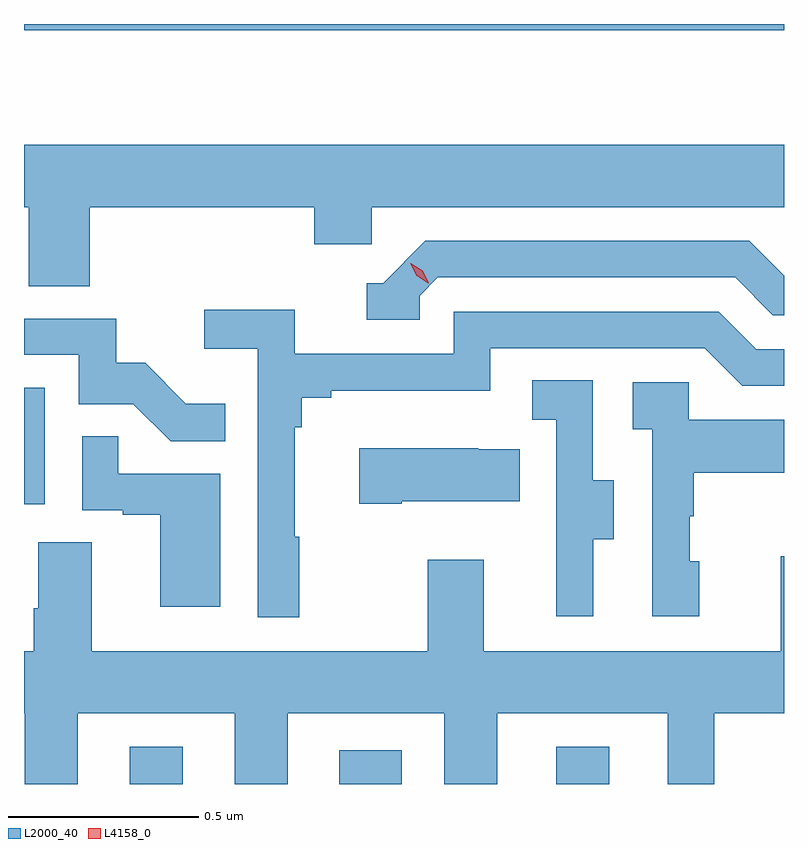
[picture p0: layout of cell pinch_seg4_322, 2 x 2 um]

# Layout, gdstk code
import gdstk
lib = gdstk.Library(unit=1e-6, precision=1e-09)
def R(c, l, rs):  # rectangles x0, y0, x1, y1
    for r in rs: c.add(gdstk.rectangle(r[:2], r[2:], *l))
def P(c, l, *ps):  # polygons
    for p in ps: c.add(gdstk.Polygon(p, *l))
L2000_40 = (2000, 40)
L4158_0 = (4158, 0)

pinch_seg4_322 = lib.new_cell('pinch_seg4_322')
R(pinch_seg4_322, L2000_40, [(897.197,795.302,897.337,795.4), (897.749,795.302,897.913,795.391), (898.319,795.302,898.459,795.4), (896.919,796.038,896.974,796.345), (896.919,797.286,898.919,797.302)])
P(pinch_seg4_322, L2000_40, [(897.092,796.82),(897.683,796.82),(897.683,796.722),(897.834,796.722),(897.834,796.82),(898.919,796.82),(898.919,796.984),(896.919,796.984),(896.919,796.82),(896.932,796.82),(896.932,796.612),(897.092,796.612)],
  [(897.96,796.587),(898.008,796.635),(898.791,796.635),(898.89,796.536),(898.919,796.536),(898.919,796.64),(898.828,796.731),(897.975,796.731),(897.864,796.62),(897.821,796.62),(897.821,796.524),(897.96,796.524)],
  [(897.643,795.953),(897.631,795.953),(897.631,796.241),(897.65,796.241),(897.65,796.318),(897.727,796.318),(897.727,796.337),(898.146,796.337),(898.146,796.449),(898.71,796.449),(898.809,796.35),(898.919,796.35),(898.919,796.446),(898.846,796.446),(898.747,796.545),(898.05,796.545),(898.05,796.434),(897.632,796.434),(897.632,796.55),(897.393,796.55),(897.393,796.448),(897.534,796.448),(897.534,795.741),(897.643,795.741)],
  [(897.449,796.303),(897.345,796.303),(897.238,796.41),(897.162,796.41),(897.162,796.527),(896.919,796.527),(896.919,796.431),(897.063,796.431),(897.063,796.302),(897.207,796.302),(897.305,796.204),(897.449,796.204)],
  [(898.417,795.946),(898.471,795.946),(898.471,796.101),(898.416,796.101),(898.416,796.364),(898.257,796.364),(898.257,796.261),(898.32,796.261),(898.32,795.957),(898.319,795.957),(898.319,795.744),(898.417,795.744)],
  [(898.696,795.888),(898.671,795.888),(898.671,796.007),(898.681,796.007),(898.681,796.121),(898.919,796.121),(898.919,796.261),(898.668,796.261),(898.668,796.359),(898.521,796.359),(898.521,796.235),(898.572,796.235),(898.572,795.744),(898.696,795.744)],
  [(897.436,796.119),(897.167,796.119),(897.167,796.217),(897.072,796.217),(897.072,796.023),(897.179,796.023),(897.179,796.011),(897.278,796.011),(897.278,795.768),(897.436,795.768)],
  [(897.913,796.046),(898.223,796.046),(898.223,796.183),(898.115,796.183),(898.115,796.186),(897.801,796.186),(897.801,796.039),(897.913,796.039)],
  [(897.061,795.488),(897.473,795.488),(897.473,795.302),(897.613,795.302),(897.613,795.488),(898.025,795.488),(898.025,795.302),(898.164,795.302),(898.164,795.488),(898.613,795.488),(898.613,795.302),(898.735,795.302),(898.735,795.488),(898.919,795.488),(898.919,795.901),(898.91,795.901),(898.91,795.652),(898.129,795.652),(898.129,795.892),(897.982,795.892),(897.982,795.652),(897.097,795.652),(897.097,795.938),(896.957,795.938),(896.957,795.764),(896.945,795.764),(896.945,795.652),(896.919,795.652),(896.919,795.488),(896.921,795.488),(896.921,795.302),(897.061,795.302)])
P(pinch_seg4_322, L4158_0, [(897.983,796.62),(897.952,796.64),(897.936,796.673),(897.936,796.673),(897.937,796.673),(897.968,796.653),(897.984,796.62),(897.984,796.62)])

lib.write_gds('pinch_seg4_322.gds')
